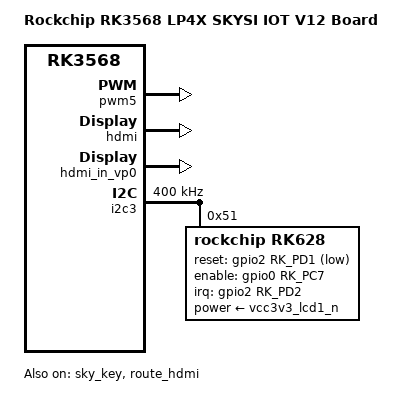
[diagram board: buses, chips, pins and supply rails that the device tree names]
// SPDX-License-Identifier: (GPL-2.0+ OR MIT)
/*
 * Copyright (c) 2020 Rockchip Electronics Co., Ltd.
 *
 */

#include "rk3568-evb-lp4x-s1-v12.dtsi"
#include "rk3568-android.dtsi"
/{
	model = "Rockchip RK3568 LP4X SKYSI IOT V12 Board";
	compatible = "rockchip,rk3568-iot-lp4x-s1-v12-rk628-gvi", "rockchip,rk3568";
};

&sky_key{
	dpi = "240";
	vertical-dpi = "140";
	persist.vendor.framebuffer.main = "1920x1080@60";
	status = "okay";
};

&backlight1 {
	enable-gpios = <&gpio0 RK_PC5 GPIO_ACTIVE_HIGH>;
};

&vcc3v3_lcd1_n {
	gpio = <&gpio3 RK_PD3 GPIO_ACTIVE_HIGH>;
};

&pwm5 {
	status = "okay";
};

&hdmi {
	status = "okay";
};

&hdmi_in_vp0 {
	status = "okay";
};

&hdmi_in_vp1 {
	status = "disabled";
};

&route_hdmi {
	status = "okay";
	logo,uboot = "logo.bmp";
	logo,kernel = "logo.bmp";
	connect = <&vp0_out_hdmi>;
	force-bus-format = <0x101e>;
	force-output;
	force_timing{
		clock-frequency = <148500000>;
		hactive = <1920>;
		vactive = <1080>;
		hback-porch = <154>;
		hfront-porch = <82>;
		hsync-len = <44>;
		vback-porch = <36>;
		vfront-porch = <4>;
		vsync-len = <5>;
		hsync-active = <1>;
		vsync-active = <1>;
		de-active = <0>;
		pixelclk-active = <0>;
	};
};

&i2c3 {
	clock-frequency = <400000>;
	status = "okay";

    rk628: rk628@51 {
		status = "okay";
		compatible = "rockchip,rk628";
		reg = <0x51>;
		interrupt-parent = <&gpio2>;
		interrupts = <RK_PD2 IRQ_TYPE_LEVEL_HIGH>;
		reset-gpios = <&gpio2 RK_PD1 GPIO_ACTIVE_LOW>;
		enable-gpios = <&gpio0 RK_PC7 GPIO_ACTIVE_HIGH>;
		pinctrl-names = "default";
		pinctrl-0 = <&refclk_pins>;
		assigned-clocks = <&pmucru CLK_WIFI>;
		assigned-clock-rates = <24000000>;
		clocks = <&pmucru CLK_WIFI>;
		clock-names = "soc_24M";

		power-supply = <&vcc3v3_lcd1_n>;
		panel-backlight = <&backlight1>;
		panel-prepare-delay-ms = <5>;
		panel-enable-delay-ms = <500>;
		panel-disable-delay-ms = <50>;
		panel-unprepare-delay-ms = <50>;
		panel-reset-delay-ms = <0>;
		panel-init-delay-ms = <5>;

		rk628,hdmi-in;
		//src-mode-4k-yuv420;

		rk628-gvi {
			/* "rgb666"
			 * "rgb888"
			 * "rgb101010"
			 * "yuyv8"
			 * "yuyv10"
			 */
			bus-format = "rgb888";
			gvi,lanes = <8>;
			rockchip,division-mode;
			//rockchip,gvi-frm-rst;
			status = "okay";
		};

		display-timings {
			src-timing {
				clock-frequency = <148500000>;
				hactive = <1920>;
				vactive = <1080>;
				hback-porch = <154>;
				hfront-porch = <82>;
				hsync-len = <44>;
				vback-porch = <36>;
				vfront-porch = <4>;
				vsync-len = <5>;
				hsync-active = <1>;
				vsync-active = <1>;
				de-active = <0>;
				pixelclk-active = <0>;
			};

			dst-timing {
				clock-frequency = <594000000>;
				hactive = <3840>;
				vactive = <2160>;
				hback-porch = <308>;
				hfront-porch = <164>;
				hsync-len = <88>;
				vback-porch = <72>;
				vfront-porch = <8>;
				vsync-len = <10>;
				hsync-active = <1>;
				vsync-active = <1>;
				de-active = <0>;
				pixelclk-active = <0>;
			};
		};
	};
};

